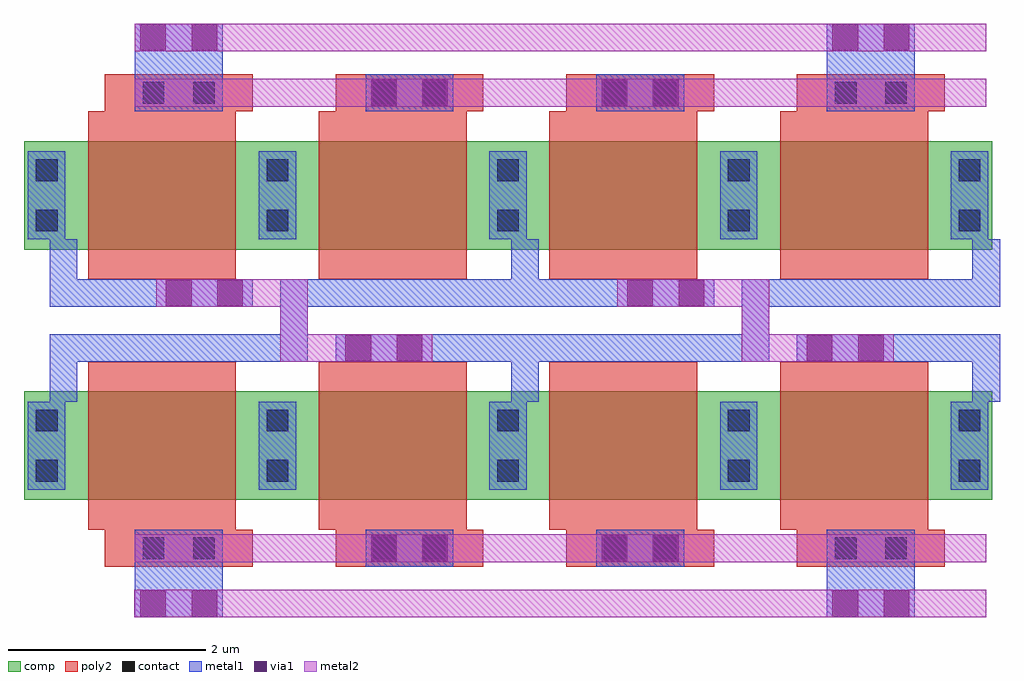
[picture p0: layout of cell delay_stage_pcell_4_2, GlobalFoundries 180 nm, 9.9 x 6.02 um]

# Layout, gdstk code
import gdstk
lib = gdstk.Library(unit=1e-6, precision=5e-09)
def R(c, l, rs):  # rectangles x0, y0, x1, y1
    for r in rs: c.add(gdstk.rectangle(r[:2], r[2:], *l))
def A(c, l, x, y, w, h, nx, ny, dx, dy):  # array of equal rectangles
    R(c, l, [(x+i*dx, y+j*dy, x+i*dx+w, y+j*dy+h) for i in range(nx) for j in range(ny)])
comp = (22, 0)
poly2 = (30, 0)
contact = (33, 0)
metal1 = (34, 0)
via1 = (35, 0)
metal2 = (36, 0)

delay_stage_pcell_1_2 = lib.new_cell('delay_stage_pcell_1$2')
R(delay_stage_pcell_1_2, comp, [(0.17,0.3,0.63,1.4), (0.63,0.3,2.51,1.4), (2.51,0.3,2.97,1.4)])
R(delay_stage_pcell_1_2, poly2, [(0.82,0,2.32,1.7)])
R(delay_stage_pcell_1_2, contact, [(0.29,0.485,0.51,0.705), (2.63,0.485,2.85,0.705), (0.29,0.995,0.51,1.215), (2.63,0.995,2.85,1.215)])
R(delay_stage_pcell_1_2, metal1, [(0.21,0.405,0.59,1.295), (2.55,0.405,2.93,1.295)])

delay_stage_pcell_4 = lib.new_cell('delay_stage_pcell_4')
delay_stage_pcell_4.add(gdstk.Reference(delay_stage_pcell_1_2, (-0.17,0)))
delay_stage_pcell_4.add(gdstk.Reference(delay_stage_pcell_1_2, (2.17,0)))
delay_stage_pcell_4.add(gdstk.Reference(delay_stage_pcell_1_2, (4.51,0)))
delay_stage_pcell_4.add(gdstk.Reference(delay_stage_pcell_1_2, (6.85,0)))

delay_stage_pcell_4_2 = lib.new_cell('delay_stage_pcell_4_2')
A(delay_stage_pcell_4_2, poly2, 0.82, 0.51, 1.5, 0.38, 4, 2, 2.34, 4.62)
R(delay_stage_pcell_4_2, contact, [(1.205,0.59,1.425,0.81), (1.715,0.59,1.935,0.81), (3.545,0.59,3.765,0.81), (4.055,0.59,4.275,0.81), (5.885,0.59,6.105,0.81), (6.395,0.59,6.615,0.81), (8.225,0.59,8.445,0.81), (8.735,0.59,8.955,0.81), (1.205,5.21,1.425,5.43), (1.715,5.21,1.935,5.43), (3.545,5.21,3.765,5.43), (4.055,5.21,4.275,5.43), (5.885,5.21,6.105,5.43), (6.395,5.21,6.615,5.43), (8.225,5.21,8.445,5.43), (8.735,5.21,8.955,5.43)])
R(delay_stage_pcell_4_2, metal1, [(1.125,0,2.015,0.89), (8.145,0,9.035,0.89), (3.465,0.51,4.355,0.89), (5.805,0.51,6.695,0.89), (1.125,5.13,2.015,6.02), (3.465,5.13,4.355,5.51), (5.805,5.13,6.695,5.51), (8.145,5.13,9.035,6.02)])
R(delay_stage_pcell_4_2, via1, [(1.18,0.01,1.44,0.27), (1.7,0.01,1.96,0.27), (8.2,0.01,8.46,0.27), (8.72,0.01,8.98,0.27), (3.52,0.57,3.78,0.83), (4.04,0.57,4.3,0.83), (5.86,0.57,6.12,0.83), (6.38,0.57,6.64,0.83), (3.26,2.6,3.52,2.86), (3.78,2.6,4.04,2.86), (7.94,2.6,8.2,2.86), (8.46,2.6,8.72,2.86), (1.44,3.16,1.7,3.42), (1.96,3.16,2.22,3.42), (6.12,3.16,6.38,3.42), (6.64,3.16,6.9,3.42), (3.52,5.19,3.78,5.45), (4.04,5.19,4.3,5.45), (5.86,5.19,6.12,5.45), (6.38,5.19,6.64,5.45), (1.18,5.75,1.44,6.01), (1.7,5.75,1.96,6.01), (8.2,5.75,8.46,6.01), (8.72,5.75,8.98,6.01)])
delay_stage_pcell_4_2.add(gdstk.FlexPath([(0.4,3.835),(0.4,3.29),(1.34,3.29)], 0.28, ends="flush", simple_path=True, layer=34, datatype=0))  # metal1
delay_stage_pcell_4_2.add(gdstk.FlexPath([(0.4,2.185),(0.4,2.73),(1.34,2.73)], 0.28, ends="flush", simple_path=True, layer=34, datatype=0))  # metal1
delay_stage_pcell_4_2.add(gdstk.FlexPath([(5.08,2.185),(5.08,2.59)], 0.28, ends="flush", simple_path=True, layer=34, datatype=0))  # metal1
delay_stage_pcell_4_2.add(gdstk.FlexPath([(5.08,3.835),(5.08,3.43)], 0.28, ends="flush", simple_path=True, layer=34, datatype=0))  # metal1
delay_stage_pcell_4_2.add(gdstk.FlexPath([(8.82,3.29),(9.76,3.29),(9.76,3.835)], 0.28, ends="flush", simple_path=True, layer=34, datatype=0))  # metal1
delay_stage_pcell_4_2.add(gdstk.FlexPath([(9.76,2.185),(9.76,2.73),(8.82,2.73)], 0.28, ends="flush", simple_path=True, layer=34, datatype=0))  # metal1
delay_stage_pcell_4_2.add(gdstk.FlexPath([(1.34,2.73),(2.74,2.73),(2.74,3.29),(4.14,3.29)], 0.28, ends="flush", simple_path=True, layer=34, datatype=0))  # metal1
delay_stage_pcell_4_2.add(gdstk.FlexPath([(6.02,2.73),(7.42,2.73),(7.42,3.29),(8.82,3.29)], 0.28, ends="flush", simple_path=True, layer=34, datatype=0))  # metal1
delay_stage_pcell_4_2.add(gdstk.FlexPath([(7.84,2.73),(8.82,2.73)], 0.28, ends="flush", simple_path=True, layer=34, datatype=0))  # metal1
delay_stage_pcell_4_2.add(gdstk.FlexPath([(6.02,3.29),(7,3.29)], 0.28, ends="flush", simple_path=True, layer=34, datatype=0))  # metal1
delay_stage_pcell_4_2.add(gdstk.FlexPath([(1.34,3.29),(2.32,3.29)], 0.28, ends="flush", simple_path=True, layer=34, datatype=0))  # metal1
delay_stage_pcell_4_2.add(gdstk.FlexPath([(3.16,2.73),(4.14,2.73)], 0.28, ends="flush", simple_path=True, layer=34, datatype=0))  # metal1
delay_stage_pcell_4_2.add(gdstk.FlexPath([(6.02,2.73),(4.14,2.73)], 0.28, ends="flush", simple_path=True, layer=34, datatype=0))  # metal1
delay_stage_pcell_4_2.add(gdstk.FlexPath([(6.02,3.29),(4.14,3.29)], 0.28, ends="flush", simple_path=True, layer=34, datatype=0))  # metal1
delay_stage_pcell_4_2.add(gdstk.FlexPath([(1.125,0.7),(9.76,0.7)], 0.28, ends="flush", simple_path=True, layer=36, datatype=0))  # metal2
delay_stage_pcell_4_2.add(gdstk.FlexPath([(1.125,5.32),(9.76,5.32)], 0.28, ends="flush", simple_path=True, layer=36, datatype=0))  # metal2
delay_stage_pcell_4_2.add(gdstk.FlexPath([(1.125,5.88),(9.76,5.88)], 0.28, ends="flush", simple_path=True, layer=36, datatype=0))  # metal2
delay_stage_pcell_4_2.add(gdstk.FlexPath([(1.12,0.14),(9.76,0.14)], 0.28, ends="flush", simple_path=True, layer=36, datatype=0))  # metal2
delay_stage_pcell_4_2.add(gdstk.FlexPath([(1.34,3.29),(2.74,3.29),(2.74,2.73),(4.14,2.73)], 0.28, ends="flush", simple_path=True, layer=36, datatype=0))  # metal2
delay_stage_pcell_4_2.add(gdstk.FlexPath([(6.02,3.29),(7.42,3.29),(7.42,2.73),(8.82,2.73)], 0.28, ends="flush", simple_path=True, layer=36, datatype=0))  # metal2
delay_stage_pcell_4_2.add(gdstk.Reference(delay_stage_pcell_4, (0,2.59), x_reflection=True))
delay_stage_pcell_4_2.add(gdstk.Reference(delay_stage_pcell_4, (0,3.43)))

lib.write_gds('delay_stage_pcell_4_2.gds')
